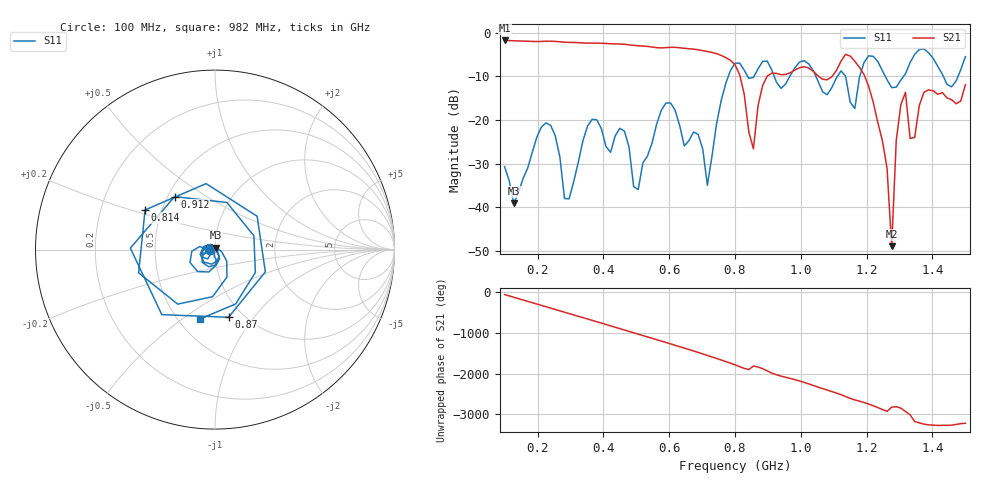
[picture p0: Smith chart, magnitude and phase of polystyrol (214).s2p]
! NanoVNA-App
! Date: 2025-09-25 15:31:33
! Start: 100MHz Stop: 1,5GHz Points: 101
! S-Parameter data: F S11 S21 S12 S22
# Hz S RI R 50
!  Frequency  S11_Real  S11_Imag  S21_Real  S21_Imag  S12_Real  S12_Imag  S22_Real  S22_Imag
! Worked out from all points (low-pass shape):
!   101 points, 100 MHz to 1.5 GHz, reference 50 ohm
!   highest |S21| = -1.80 dB at 100 MHz (marker M1); lowest = -48.9 dB at 1.276 GHz (marker M2)
!   |S21| within 3 dB of the highest: start of sweep to 743.3 MHz
!   lowest |S11| = -39.1 dB at 128 MHz (marker M3), VSWR 1.02, Z = 50.3 + j1.06 ohm
!   |S11| at or under -10 dB: start of sweep to 779.7 MHz; 1.046 GHz to 1.111 GHz (65.77 MHz wide, 6.1 % of centre); 1.256 GHz to 1.312 GHz (55.85 MHz wide, 4.35 % of centre) (the widest 3 of 7)
!   S12 and S22 are empty: the file has one direction only
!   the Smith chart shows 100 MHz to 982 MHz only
!   S11 on the Smith chart (normalised r, x): 100 MHz: 0.94, -0.01; 814 MHz: 0.40, +0.22; 870 MHz: 0.85, -0.76; 912 MHz: 0.54, +0.37; 982 MHz: 0.64, -0.58
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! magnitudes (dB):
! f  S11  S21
! 100 MHz  -30.7  -1.8
! 128 MHz  -39.1  -1.9
! 212 MHz  -21.6  -2.0
! 282 MHz  -38.0  -2.2
! 338 MHz  -24.8  -2.4
! 506 MHz  -36.0  -3.0
! 576 MHz  -17.8  -3.5
! 716 MHz  -34.9  -4.3
! 800 MHz  -7.0  -7.4
! 814 MHz  -7.0  -9.6
! 856 MHz  -10.3  -26.6
! 870 MHz  -8.3  -16.7
! 912 MHz  -8.6  -9.3
! 982 MHz  -8.0  -8.6
! 1.038 GHz  -8.7  -8.9
! 1.192 GHz  -6.9  -9.6
! 1.262 GHz  -10.8  -31.1
! 1.276 GHz  -12.6  -48.9
! 1.29 GHz  -12.5  -24.6
! 1.318 GHz  -9.4  -13.7
! 1.332 GHz  -6.9  -24.2
! 1.5 GHz  -5.5  -12.0
